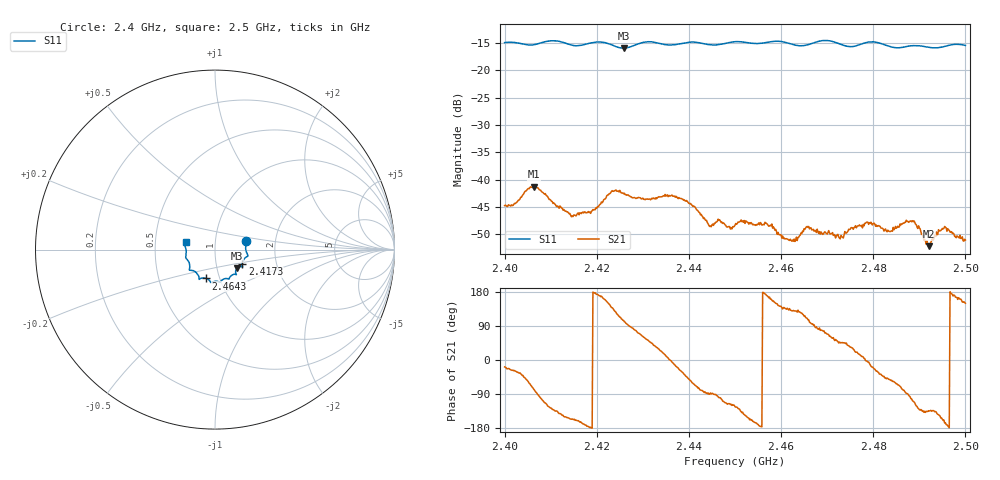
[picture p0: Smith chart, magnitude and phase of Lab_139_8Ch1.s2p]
# Hz S RI R 50
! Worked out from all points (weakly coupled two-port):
!   601 points, 2.4 GHz to 2.5 GHz, reference 50 ohm
!   highest |S21| = -41.32 dB at 2.4063 GHz (marker M1); lowest = -52.2 dB at 2.4922 GHz (marker M2)
!   lowest |S11| = -15.9 dB at 2.4258 GHz (marker M3), VSWR 1.38, Z = 62.3 - j13.2 ohm
!   |S11| at or under -10 dB: start of sweep to end of sweep
!   S12 and S22 are empty: the file has one direction only
!   S11 on the Smith chart (normalised r, x): 2.4 GHz: 1.41, +0.14; 2.4173 GHz: 1.34, -0.23; 2.4643 GHz: 0.86, -0.28; 2.5 GHz: 0.72, +0.06
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2.4e9  0.173 0.0489  0.00548 -0.0018  0 0  0 0
2.406333e9  0.1721 -0.00216  0.00189 -0.00838  0 0  0 0
2.414333e9  0.1637 -0.0498  -0.00429 -0.00193  0 0  0 0
2.416667e9  0.1526 -0.0749  -0.00471 -0.00125  0 0  0 0
2.417333e9  0.1515 -0.0823  -0.00498 -0.000834  0 0  0 0
2.423667e9  0.1397 -0.0942  -0.00531 0.0057  0 0  0 0
2.425833e9  0.1219 -0.1034  -0.00183 0.00717  0 0  0 0
2.433333e9  0.1127 -0.1375  0.00598 0.00343  0 0  0 0
2.439167e9  0.0797 -0.16  0.00488 -0.00411  0 0  0 0
2.4445e9  0.0598 -0.1611  -1.49e-05 -0.00371  0 0  0 0
2.45e9  0.0289 -0.181  -0.00209 -0.0032  0 0  0 0
2.457e9  -0.0141 -0.1803  -0.00385 0.000721  0 0  0 0
2.462167e9  -0.0311 -0.1718  -0.00182 0.00209  0 0  0 0
2.464333e9  -0.0499 -0.1605  -0.00182 0.00269  0 0  0 0
2.466667e9  -0.0759 -0.1592  -0.000291 0.00344  0 0  0 0
2.473e9  -0.091 -0.147  0.00212 0.00222  0 0  0 0
2.479e9  -0.1412 -0.1147  0.00387 -0.00036  0 0  0 0
2.483333e9  -0.1406 -0.0898  0.00213 -0.00261  0 0  0 0
2.4885e9  -0.1617 -0.0477  -0.00123 -0.00401  0 0  0 0
2.492167e9  -0.1608 -0.0237  -0.00172 -0.00174  0 0  0 0
2.495333e9  -0.1648 0.0131  -0.00332 -0.00131  0 0  0 0
2.5e9  -0.1639 0.0426  -0.00241 0.0014  0 0  0 0
